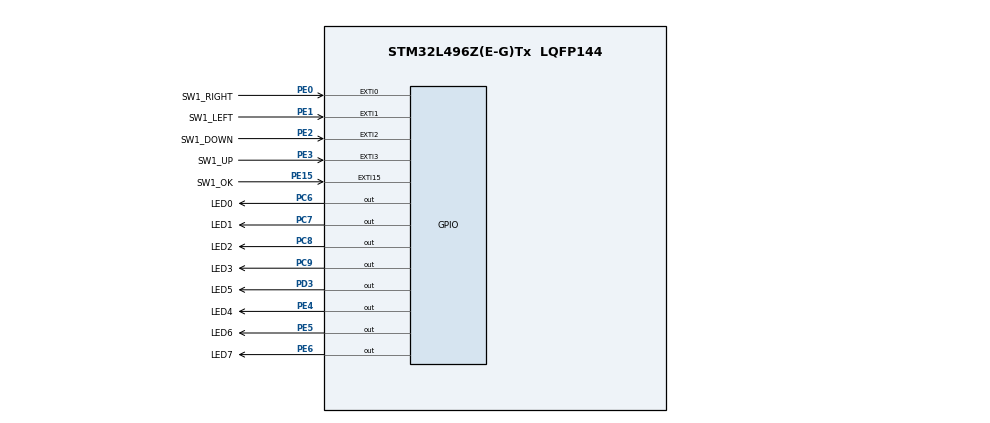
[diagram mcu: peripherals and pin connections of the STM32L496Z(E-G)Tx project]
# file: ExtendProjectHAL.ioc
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Mcu.Family=STM32L4
Mcu.Name=STM32L496Z(E-G)Tx
Mcu.Package=LQFP144
NVIC.EXTI0_IRQn=true\:1\:0\:true\:false\:true\:true\:true
NVIC.EXTI15_10_IRQn=true\:0\:0\:false\:false\:true\:true\:true
NVIC.EXTI1_IRQn=true\:2\:0\:true\:false\:true\:true\:true
NVIC.EXTI2_IRQn=true\:3\:0\:true\:false\:true\:true\:true
NVIC.EXTI3_IRQn=true\:4\:0\:true\:false\:true\:true\:true
NVIC.PriorityGroup=NVIC_PRIORITYGROUP_4
PC6.GPIO_Label=LED0
PC6.Signal=GPIO_Output
PC7.GPIO_Label=LED1
PC7.Signal=GPIO_Output
PC8.GPIO_Label=LED2
PC8.Signal=GPIO_Output
PC9.GPIO_Label=LED3
PC9.Signal=GPIO_Output
PD3.GPIO_Label=LED5
PD3.Signal=GPIO_Output
PE0.GPIO_Label=SW1_RIGHT
PE0.GPIO_ModeDefaultEXTI=GPIO_MODE_IT_FALLING
PE0.Signal=GPXTI0
PE1.GPIO_Label=SW1_LEFT
PE1.GPIO_ModeDefaultEXTI=GPIO_MODE_IT_FALLING
PE1.Signal=GPXTI1
PE15.GPIO_Label=SW1_OK
PE15.GPIO_ModeDefaultEXTI=GPIO_MODE_IT_FALLING
PE15.Signal=GPXTI15
PE2.GPIO_Label=SW1_DOWN
PE2.GPIO_ModeDefaultEXTI=GPIO_MODE_IT_FALLING
PE2.Signal=GPXTI2
PE3.GPIO_Label=SW1_UP
PE3.GPIO_ModeDefaultEXTI=GPIO_MODE_IT_FALLING
PE3.Signal=GPXTI3
PE4.GPIO_Label=LED4
PE4.Signal=GPIO_Output
PE5.GPIO_Label=LED6
PE5.Signal=GPIO_Output
PE6.GPIO_Label=LED7
PE6.Signal=GPIO_Output
ProjectManager.HeapSize=0x200
ProjectManager.StackSize=0x400
ProjectManager.TargetToolchain=STM32CubeIDE
RCC.HSE_VALUE=8000000
RCC.HSI48_VALUE=48000000
RCC.HSI_VALUE=16000000
RCC.LSE_VALUE=32768
RCC.MSI_VALUE=4000000
RCC.VCOOutputFreq_Value=32000000
board=custom

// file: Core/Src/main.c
/* USER CODE BEGIN Header */
/**
  ******************************************************************************
  * @file           : main.c
  * @brief          : Main program body
  ******************************************************************************
  * @attention
  *
  * Copyright (c) 2022 STMicroelectronics.
  * All rights reserved.
  *
  * This software is licensed under terms that can be found in the LICENSE file
  * in the root directory of this software component.
  * If no LICENSE file comes with this software, it is provided AS-IS.
  *
  ******************************************************************************
  */
/* USER CODE END Header */
#include "main.h"

/* USER CODE BEGIN PV */
volatile uint8_t set=0;

/* USER CODE END PV */

void SystemClock_Config(void);
static void MX_GPIO_Init(void);

int main(void)
{

  /* MCU Configuration--------------------------------------------------------*/

  /* Reset of all peripherals, Initializes the Flash interface and the Systick. */
  HAL_Init();

  /* Configure the system clock */
  SystemClock_Config();

  /* Initialize all configured peripherals */
  MX_GPIO_Init();

  /* Infinite loop */
  /* USER CODE BEGIN WHILE */
  while (1)
  {
	  if (set == 1){
	 		  HAL_Delay(500);
	 		  HAL_GPIO_WritePin(LED0_GPIO_Port, LED0_Pin, GPIO_PIN_RESET);
	 		  set =0;
	 	  }

	 	  if (set == 2)
	 	      {
	 	          HAL_Delay(500);
	 	          HAL_GPIO_WritePin(LED7_GPIO_Port, LED7_Pin, GPIO_PIN_RESET);
	 	          set = 0;
	 	      }

	 	   if (set == 3)
	 	      {
	 	          HAL_Delay(500);
	 	          HAL_GPIO_WritePin(LED3_GPIO_Port, LED3_Pin, GPIO_PIN_RESET);
	 	          HAL_GPIO_WritePin(LED4_GPIO_Port, LED4_Pin, GPIO_PIN_RESET);
	 	          set = 0;
	 	      }
	 	       if (set == 4)
	 	      {
	 	          HAL_Delay(500);
	 	          HAL_GPIO_WritePin(LED1_GPIO_Port, LED1_Pin, GPIO_PIN_RESET);
	 	          HAL_GPIO_WritePin(LED6_GPIO_Port, LED6_Pin, GPIO_PIN_RESET);
	 	          set = 0;
	 	      }

	 	       if (set == 5){
	 	      		  HAL_Delay(500);
	 	      		           HAL_GPIO_WritePin(LED0_GPIO_Port, LED0_Pin, GPIO_PIN_RESET);
	 	      		           HAL_GPIO_WritePin(LED1_GPIO_Port, LED1_Pin, GPIO_PIN_RESET);
	 	      		           HAL_GPIO_WritePin(LED2_GPIO_Port, LED2_Pin, GPIO_PIN_RESET);
	 	      		           HAL_GPIO_WritePin(LED3_GPIO_Port, LED3_Pin, GPIO_PIN_RESET);
	 	      		           HAL_GPIO_WritePin(LED4_GPIO_Port, LED4_Pin, GPIO_PIN_RESET);
	 	      		           HAL_GPIO_WritePin(LED5_GPIO_Port, LED5_Pin, GPIO_PIN_RESET);
	 	      		           HAL_GPIO_WritePin(LED6_GPIO_Port, LED6_Pin, GPIO_PIN_RESET);
	 	      		           HAL_GPIO_WritePin(LED7_GPIO_Port, LED7_Pin, GPIO_PIN_RESET);
	 	      		           set = 0;
	 	      	 	  }

    /* USER CODE END WHILE */

  }
}

void SystemClock_Config(void)
{
  RCC_OscInitTypeDef RCC_OscInitStruct = {0};
  RCC_ClkInitTypeDef RCC_ClkInitStruct = {0};

  /** Configure the main internal regulator output voltage
  */
  if (HAL_PWREx_ControlVoltageScaling(PWR_REGULATOR_VOLTAGE_SCALE1) != HAL_OK)
  {
    Error_Handler();
  }
  /** Initializes the RCC Oscillators according to the specified parameters
  * in the RCC_OscInitTypeDef structure.
  */
  RCC_OscInitStruct.OscillatorType = RCC_OSCILLATORTYPE_MSI;
  RCC_OscInitStruct.MSIState = RCC_MSI_ON;
  RCC_OscInitStruct.MSICalibrationValue = 0;
  RCC_OscInitStruct.MSIClockRange = RCC_MSIRANGE_6;
  RCC_OscInitStruct.PLL.PLLState = RCC_PLL_NONE;
  if (HAL_RCC_OscConfig(&RCC_OscInitStruct) != HAL_OK)
  {
    Error_Handler();
  }
  /** Initializes the CPU, AHB and APB buses clocks
  */
  RCC_ClkInitStruct.ClockType = RCC_CLOCKTYPE_HCLK|RCC_CLOCKTYPE_SYSCLK
                              |RCC_CLOCKTYPE_PCLK1|RCC_CLOCKTYPE_PCLK2;
  RCC_ClkInitStruct.SYSCLKSource = RCC_SYSCLKSOURCE_MSI;
  RCC_ClkInitStruct.AHBCLKDivider = RCC_SYSCLK_DIV1;
  RCC_ClkInitStruct.APB1CLKDivider = RCC_HCLK_DIV1;
  RCC_ClkInitStruct.APB2CLKDivider = RCC_HCLK_DIV1;

  if (HAL_RCC_ClockConfig(&RCC_ClkInitStruct, FLASH_LATENCY_0) != HAL_OK)
  {
    Error_Handler();
  }
}

static void MX_GPIO_Init(void)
{
  GPIO_InitTypeDef GPIO_InitStruct = {0};

  /* GPIO Ports Clock Enable */
  __HAL_RCC_GPIOE_CLK_ENABLE();
  __HAL_RCC_GPIOC_CLK_ENABLE();
  __HAL_RCC_GPIOD_CLK_ENABLE();

  /*Configure GPIO pin Output Level */
  HAL_GPIO_WritePin(GPIOE, LED4_Pin|LED6_Pin|LED7_Pin, GPIO_PIN_RESET);

  /*Configure GPIO pin Output Level */
  HAL_GPIO_WritePin(GPIOC, LED0_Pin|LED1_Pin|LED2_Pin|LED3_Pin, GPIO_PIN_RESET);

  /*Configure GPIO pin Output Level */
  HAL_GPIO_WritePin(LED5_GPIO_Port, LED5_Pin, GPIO_PIN_RESET);

  /*Configure GPIO pins : SW1_DOWN_Pin SW1_UP_Pin SW1_OK_Pin SW1_RIGHT_Pin
                           SW1_LEFT_Pin */
  GPIO_InitStruct.Pin = SW1_DOWN_Pin|SW1_UP_Pin|SW1_OK_Pin|SW1_RIGHT_Pin
                          |SW1_LEFT_Pin;
  GPIO_InitStruct.Mode = GPIO_MODE_IT_FALLING;
  GPIO_InitStruct.Pull = GPIO_NOPULL;
  HAL_GPIO_Init(GPIOE, &GPIO_InitStruct);

  /*Configure GPIO pins : LED4_Pin LED6_Pin LED7_Pin */
  GPIO_InitStruct.Pin = LED4_Pin|LED6_Pin|LED7_Pin;
  GPIO_InitStruct.Mode = GPIO_MODE_OUTPUT_PP;
  GPIO_InitStruct.Pull = GPIO_NOPULL;
  GPIO_InitStruct.Speed = GPIO_SPEED_FREQ_LOW;
  HAL_GPIO_Init(GPIOE, &GPIO_InitStruct);

  /*Configure GPIO pins : LED0_Pin LED1_Pin LED2_Pin LED3_Pin */
  GPIO_InitStruct.Pin = LED0_Pin|LED1_Pin|LED2_Pin|LED3_Pin;
  GPIO_InitStruct.Mode = GPIO_MODE_OUTPUT_PP;
  GPIO_InitStruct.Pull = GPIO_NOPULL;
  GPIO_InitStruct.Speed = GPIO_SPEED_FREQ_LOW;
  HAL_GPIO_Init(GPIOC, &GPIO_InitStruct);

  /*Configure GPIO pin : LED5_Pin */
  GPIO_InitStruct.Pin = LED5_Pin;
  GPIO_InitStruct.Mode = GPIO_MODE_OUTPUT_PP;
  GPIO_InitStruct.Pull = GPIO_NOPULL;
  GPIO_InitStruct.Speed = GPIO_SPEED_FREQ_LOW;
  HAL_GPIO_Init(LED5_GPIO_Port, &GPIO_InitStruct);

  /* EXTI interrupt init*/
  HAL_NVIC_SetPriority(EXTI0_IRQn, 1, 0);
  HAL_NVIC_EnableIRQ(EXTI0_IRQn);

  HAL_NVIC_SetPriority(EXTI1_IRQn, 2, 0);
  HAL_NVIC_EnableIRQ(EXTI1_IRQn);

  HAL_NVIC_SetPriority(EXTI2_IRQn, 3, 0);
  HAL_NVIC_EnableIRQ(EXTI2_IRQn);

  HAL_NVIC_SetPriority(EXTI3_IRQn, 4, 0);
  HAL_NVIC_EnableIRQ(EXTI3_IRQn);

  HAL_NVIC_SetPriority(EXTI15_10_IRQn, 0, 0);
  HAL_NVIC_EnableIRQ(EXTI15_10_IRQn);

}

/* USER CODE BEGIN 4 */
void HAL_GPIO_EXTI_Callback(uint16_t GPIO_Pin){
	 if(GPIO_Pin == SW1_OK_Pin)
	    {
	        HAL_GPIO_WritePin(LED0_GPIO_Port, LED0_Pin, GPIO_PIN_SET);
	        HAL_GPIO_WritePin(LED1_GPIO_Port, LED1_Pin, GPIO_PIN_SET);
	        HAL_GPIO_WritePin(LED2_GPIO_Port, LED2_Pin, GPIO_PIN_SET);
	        HAL_GPIO_WritePin(LED3_GPIO_Port, LED3_Pin, GPIO_PIN_SET);
	        HAL_GPIO_WritePin(LED4_GPIO_Port, LED4_Pin, GPIO_PIN_SET);
	        HAL_GPIO_WritePin(LED5_GPIO_Port, LED5_Pin, GPIO_PIN_SET);
	        HAL_GPIO_WritePin(LED6_GPIO_Port, LED6_Pin, GPIO_PIN_SET);
	        HAL_GPIO_WritePin(LED7_GPIO_Port, LED7_Pin, GPIO_PIN_SET);
	        set = 5;
	    }

	  if(GPIO_Pin == SW1_RIGHT_Pin)
	    {
	        HAL_GPIO_WritePin(LED0_GPIO_Port, LED0_Pin, GPIO_PIN_SET);
	        set = 1;
	    }

	  if(GPIO_Pin == SW1_LEFT_Pin)
	     {
	         HAL_GPIO_WritePin(LED7_GPIO_Port, LED7_Pin, GPIO_PIN_SET);
	         set = 2;
	     }

	  if(GPIO_Pin == SW1_UP_Pin)
	     {
	         HAL_GPIO_WritePin(LED3_GPIO_Port, LED3_Pin, GPIO_PIN_SET);
	         HAL_GPIO_WritePin(LED4_GPIO_Port, LED4_Pin, GPIO_PIN_SET);
	         set = 3;
	     }

	  if(GPIO_Pin == SW1_DOWN_Pin)
	     {
	         HAL_GPIO_WritePin(LED1_GPIO_Port, LED1_Pin, GPIO_PIN_SET);
	         HAL_GPIO_WritePin(LED6_GPIO_Port, LED6_Pin, GPIO_PIN_SET);
	         set = 4;
	     }

}

/* USER CODE END 4 */

void Error_Handler(void)
{
  __disable_irq();
  while (1)
  {
  }
}
